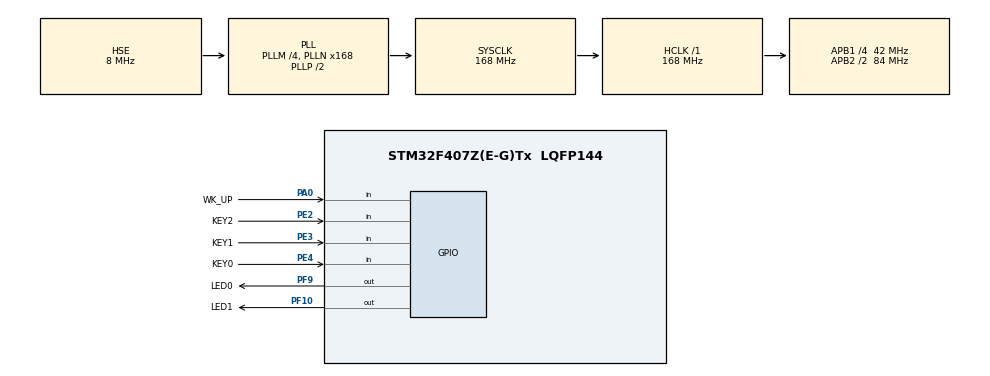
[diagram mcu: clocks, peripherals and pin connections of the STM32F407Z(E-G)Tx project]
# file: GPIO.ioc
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Mcu.Family=STM32F4
Mcu.Name=STM32F407Z(E-G)Tx
Mcu.Package=LQFP144
NVIC.PriorityGroup=NVIC_PRIORITYGROUP_4
PA0-WKUP.GPIO_Label=WK_UP
PA0-WKUP.GPIO_PuPd=GPIO_PULLDOWN
PA0-WKUP.Signal=GPIO_Input
PC14-OSC32_IN.Mode=LSE-External-Oscillator
PC14-OSC32_IN.Signal=RCC_OSC32_IN
PC15-OSC32_OUT.Mode=LSE-External-Oscillator
PC15-OSC32_OUT.Signal=RCC_OSC32_OUT
PE2.GPIO_Label=KEY2
PE2.GPIO_PuPd=GPIO_PULLUP
PE2.Signal=GPIO_Input
PE3.GPIO_Label=KEY1
PE3.GPIO_PuPd=GPIO_PULLUP
PE3.Signal=GPIO_Input
PE4.GPIO_Label=KEY0
PE4.GPIO_PuPd=GPIO_PULLUP
PE4.Signal=GPIO_Input
PF10.GPIO_Label=LED1
PF10.Signal=GPIO_Output
PF9.GPIO_Label=LED0
PF9.GPIO_ModeDefaultOutputPP=GPIO_MODE_OUTPUT_PP
PF9.PinState=GPIO_PIN_SET
PF9.Signal=GPIO_Output
PH0-OSC_IN.Mode=HSE-External-Oscillator
PH0-OSC_IN.Signal=RCC_OSC_IN
PH1-OSC_OUT.Mode=HSE-External-Oscillator
PH1-OSC_OUT.Signal=RCC_OSC_OUT
ProjectManager.HeapSize=0x200
ProjectManager.StackSize=0x400
ProjectManager.TargetToolchain=MDK-ARM V5
RCC.48MHZClocksFreq_Value=84000000
RCC.AHBFreq_Value=168000000
RCC.APB1CLKDivider=RCC_HCLK_DIV4
RCC.APB1Freq_Value=42000000
RCC.APB1TimFreq_Value=84000000
RCC.APB2CLKDivider=RCC_HCLK_DIV2
RCC.APB2Freq_Value=84000000
RCC.APB2TimFreq_Value=168000000
RCC.CortexFreq_Value=168000000
RCC.HCLKFreq_Value=168000000
RCC.HSE_VALUE=8000000
RCC.HSI_VALUE=16000000
RCC.PLLM=4
RCC.PLLN=168
RCC.PLLSourceVirtual=RCC_PLLSOURCE_HSE
RCC.SYSCLKFreq_VALUE=168000000
RCC.SYSCLKSource=RCC_SYSCLKSOURCE_PLLCLK
RCC.VCOOutputFreq_Value=336000000
board=custom

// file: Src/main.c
/* USER CODE BEGIN Header */
/**
  ******************************************************************************
  * @file           : main.c
  * @brief          : Main program body
  ******************************************************************************
  * @attention
  *
  * <h2><center>&copy; Copyright (c) 2019 STMicroelectronics.
  * All rights reserved.</center></h2>
  *
  * This software component is licensed by ST under BSD 3-Clause license,
  * the "License"; You may not use this file except in compliance with the
  * License. You may obtain a copy of the License at:
  *                        opensource.org/licenses/BSD-3-Clause
  *
  ******************************************************************************
  */
/* USER CODE END Header */

#include "main.h"
#include "gpio.h"

/* USER CODE BEGIN PD */
#define KEY0_PRES 1
#define KEY1_PRES 2
#define KEY2_PRES 3
#define WKUP_PRES 4
/* USER CODE END PD */

void SystemClock_Config(void);

/* USER CODE BEGIN 0 */
void house_race_lamp(void)
{
		HAL_GPIO_WritePin(LED0_GPIO_Port, LED0_Pin, GPIO_PIN_RESET);
		HAL_GPIO_WritePin(LED1_GPIO_Port, LED1_Pin, GPIO_PIN_SET);
		HAL_Delay(100);
		HAL_GPIO_WritePin(LED0_GPIO_Port, LED0_Pin, GPIO_PIN_SET);
		HAL_GPIO_WritePin(LED1_GPIO_Port, LED1_Pin, GPIO_PIN_RESET);
		HAL_Delay(100);
}

void led0_flashing_light(void)
{
		HAL_GPIO_TogglePin(LED0_GPIO_Port, LED0_Pin);
		HAL_Delay(100);
}

void led_light_on(void)
{
		HAL_GPIO_WritePin(LED0_GPIO_Port, LED0_Pin, GPIO_PIN_RESET);
		HAL_GPIO_WritePin(LED1_GPIO_Port, LED1_Pin, GPIO_PIN_RESET);
}

void led_light_off(void)
{
		HAL_GPIO_WritePin(LED0_GPIO_Port, LED0_Pin, GPIO_PIN_SET);
		HAL_GPIO_WritePin(LED1_GPIO_Port, LED1_Pin, GPIO_PIN_SET);
}

uint8_t KEY_Scan(uint8_t mode)
{
		static uint8_t key_up=1;//
		GPIO_PinState KEY0,KEY1,KEY2,WK_UP;
		KEY0=	HAL_GPIO_ReadPin(KEY0_GPIO_Port,KEY0_Pin);
		KEY1=	HAL_GPIO_ReadPin(KEY1_GPIO_Port,KEY1_Pin);
		KEY2=	HAL_GPIO_ReadPin(KEY2_GPIO_Port,KEY2_Pin);
		WK_UP=	HAL_GPIO_ReadPin(WK_UP_GPIO_Port,WK_UP_Pin);
		if(mode)key_up=1; //
		if(key_up&&(KEY0==0||KEY1==0||KEY2==0||WK_UP==1))
			{
				HAL_Delay(10);//
				key_up=0;
				if(KEY0==0)return 1;
				else if(KEY1==0)return 2;
				else if(KEY2==0)return 3;
				else if(WK_UP==1)return 4;
			}
		else if(KEY0==1&&KEY1==1&&KEY2==1&&WK_UP==0)key_up=1;
		return 0;//
}

/* USER CODE END 0 */

int main(void)
{
  /* USER CODE BEGIN 1 */
   uint8_t key;
  /* USER CODE END 1 */

  /* MCU Configuration--------------------------------------------------------*/

  /* Reset of all peripherals, Initializes the Flash interface and the Systick. */
  HAL_Init();

  /* Configure the system clock */
  SystemClock_Config();

  /* Initialize all configured peripherals */
  MX_GPIO_Init();

  /* Infinite loop */
  while (1)
  {

    /* USER CODE BEGIN 3 */
	key=KEY_Scan(0);
    if(key)
			{
				switch(key)
			   {
					  case WKUP_PRES: //?????
			           house_race_lamp();
			      break;
			      case KEY0_PRES: //??LED0??
			           led0_flashing_light();
			      break;
			      case KEY1_PRES: //??LED1??
			           led_light_on();
			      break;
			      case KEY2_PRES: //????LED0,LED1??
			           led_light_off();
			      break;
			   }
			}else HAL_Delay(10);
  }
  /* USER CODE END 3 */
}

void SystemClock_Config(void)
{
  RCC_OscInitTypeDef RCC_OscInitStruct = {0};
  RCC_ClkInitTypeDef RCC_ClkInitStruct = {0};

  /** Configure the main internal regulator output voltage
  */
  __HAL_RCC_PWR_CLK_ENABLE();
  __HAL_PWR_VOLTAGESCALING_CONFIG(PWR_REGULATOR_VOLTAGE_SCALE1);
  /** Initializes the CPU, AHB and APB busses clocks
  */
  RCC_OscInitStruct.OscillatorType = RCC_OSCILLATORTYPE_HSE;
  RCC_OscInitStruct.HSEState = RCC_HSE_ON;
  RCC_OscInitStruct.PLL.PLLState = RCC_PLL_ON;
  RCC_OscInitStruct.PLL.PLLSource = RCC_PLLSOURCE_HSE;
  RCC_OscInitStruct.PLL.PLLM = 4;
  RCC_OscInitStruct.PLL.PLLN = 168;
  RCC_OscInitStruct.PLL.PLLP = RCC_PLLP_DIV2;
  RCC_OscInitStruct.PLL.PLLQ = 4;
  if (HAL_RCC_OscConfig(&RCC_OscInitStruct) != HAL_OK)
  {
    Error_Handler();
  }
  /** Initializes the CPU, AHB and APB busses clocks
  */
  RCC_ClkInitStruct.ClockType = RCC_CLOCKTYPE_HCLK|RCC_CLOCKTYPE_SYSCLK
                              |RCC_CLOCKTYPE_PCLK1|RCC_CLOCKTYPE_PCLK2;
  RCC_ClkInitStruct.SYSCLKSource = RCC_SYSCLKSOURCE_PLLCLK;
  RCC_ClkInitStruct.AHBCLKDivider = RCC_SYSCLK_DIV1;
  RCC_ClkInitStruct.APB1CLKDivider = RCC_HCLK_DIV4;
  RCC_ClkInitStruct.APB2CLKDivider = RCC_HCLK_DIV2;

  if (HAL_RCC_ClockConfig(&RCC_ClkInitStruct, FLASH_LATENCY_5) != HAL_OK)
  {
    Error_Handler();
  }
}

void Error_Handler(void)
{
}

/************************ (C) COPYRIGHT STMicroelectronics *****END OF FILE****/
